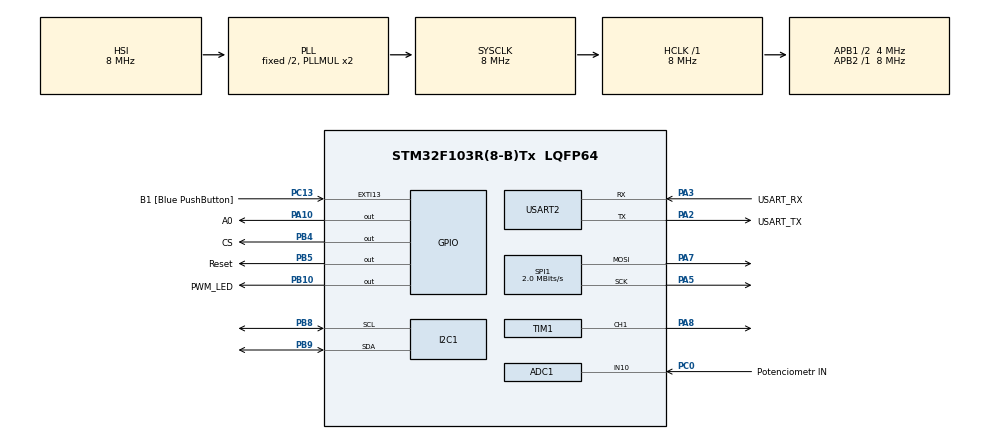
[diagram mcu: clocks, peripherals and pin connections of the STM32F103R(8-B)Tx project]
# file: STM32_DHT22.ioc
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ADC1.Channel-1\#ChannelRegularConversion=ADC_CHANNEL_10
ADC1.EnableAnalogWatchDog=false
ADC1.NbrOfConversionFlag=1
ADC1.Rank-1\#ChannelRegularConversion=1
ADC1.SamplingTime-1\#ChannelRegularConversion=ADC_SAMPLETIME_1CYCLE_5
ADC1.master=1
Dma.ADC1.0.Direction=DMA_PERIPH_TO_MEMORY
Dma.ADC1.0.Instance=DMA1_Channel1
Dma.ADC1.0.MemDataAlignment=DMA_MDATAALIGN_HALFWORD
Dma.ADC1.0.MemInc=DMA_MINC_ENABLE
Dma.ADC1.0.Mode=DMA_CIRCULAR
Dma.ADC1.0.PeriphDataAlignment=DMA_PDATAALIGN_HALFWORD
Dma.ADC1.0.PeriphInc=DMA_PINC_DISABLE
Dma.ADC1.0.Priority=DMA_PRIORITY_LOW
Dma.Request0=ADC1
Mcu.Family=STM32F1
Mcu.Name=STM32F103R(8-B)Tx
Mcu.Package=LQFP64
NVIC.ADC1_2_IRQn=true\:0\:0\:false\:false\:true\:true\:true
NVIC.DMA1_Channel1_IRQn=true\:0\:0\:false\:false\:true\:false\:true
NVIC.EXTI15_10_IRQn=true\:0\:0\:false\:false\:true\:true\:true
NVIC.PriorityGroup=NVIC_PRIORITYGROUP_4
NVIC.TIM1_UP_IRQn=true\:0\:0\:false\:false\:true\:true\:true
PA10.GPIO_Label=A0
PA10.Signal=GPIO_Output
PA13.GPIO_Label=TMS
PA13.Mode=Serial_Wire
PA13.Signal=SYS_JTMS-SWDIO
PA14.GPIO_Label=TCK
PA14.Mode=Serial_Wire
PA14.Signal=SYS_JTCK-SWCLK
PA2.GPIO_Label=USART_TX
PA2.GPIO_Mode=GPIO_MODE_AF_PP
PA2.GPIO_PuPd=GPIO_NOPULL
PA2.GPIO_Speed=GPIO_SPEED_FREQ_LOW
PA2.Mode=Asynchronous
PA2.Signal=USART2_TX
PA3.GPIO_Label=USART_RX
PA3.GPIO_Mode=GPIO_MODE_AF_PP
PA3.GPIO_PuPd=GPIO_NOPULL
PA3.GPIO_Speed=GPIO_SPEED_FREQ_LOW
PA3.Mode=Asynchronous
PA3.Signal=USART2_RX
PA5.Mode=TX_Only_Simplex_Unidirect_Master
PA5.Signal=SPI1_SCK
PA7.Mode=TX_Only_Simplex_Unidirect_Master
PA7.Signal=SPI1_MOSI
PA8.GPIO_Speed=GPIO_SPEED_FREQ_HIGH
PA8.Signal=S_TIM1_CH1
PB10.GPIO_Label=PWM_LED
PB10.Signal=GPIO_Output
PB3.GPIO_Label=SWO
PB3.Signal=SYS_JTDO-TRACESWO
PB4.GPIO_Label=CS
PB4.Signal=GPIO_Output
PB5.GPIO_Label=Reset
PB5.Signal=GPIO_Output
PB8.Mode=I2C
PB8.Signal=I2C1_SCL
PB9.Mode=I2C
PB9.Signal=I2C1_SDA
PC0.GPIO_Label=Potenciometr IN
PC0.GPIO_Mode=GPIO_MODE_ANALOG
PC0.Signal=SharedAnalog_PC0
PC13-TAMPER-RTC.GPIO_Label=B1 [Blue PushButton]
PC13-TAMPER-RTC.GPIO_ModeDefaultEXTI=GPIO_MODE_IT_FALLING
PC13-TAMPER-RTC.GPIO_PuPd=GPIO_NOPULL
PC13-TAMPER-RTC.Signal=GPXTI13
PC14-OSC32_IN.Signal=RCC_OSC32_IN
PC15-OSC32_OUT.Signal=RCC_OSC32_OUT
PD0-OSC_IN.Signal=RCC_OSC_IN
PD1-OSC_OUT.Signal=RCC_OSC_OUT
ProjectManager.HeapSize=0x200
ProjectManager.StackSize=0x400
ProjectManager.TargetToolchain=STM32CubeIDE
RCC.AHBFreq_Value=8000000
RCC.APB1CLKDivider=RCC_HCLK_DIV2
RCC.APB1Freq_Value=4000000
RCC.APB1TimFreq_Value=8000000
RCC.APB2Freq_Value=8000000
RCC.APB2TimFreq_Value=8000000
RCC.HCLKFreq_Value=8000000
RCC.SYSCLKFreq_VALUE=8000000
RCC.SYSCLKSource=RCC_SYSCLKSOURCE_PLLCLK
RCC.USBFreq_Value=8000000
SH.S_TIM1_CH1.0=TIM1_CH1,PWM Generation1 CH1
SH.SharedAnalog_PC0.0=GPIO_Analog
SH.SharedAnalog_PC0.1=ADC1_IN10,IN10
SPI1.BaudRatePrescaler=SPI_BAUDRATEPRESCALER_4
SPI1.CalculateBaudRate=2.0 MBits/s
SPI1.Direction=SPI_DIRECTION_2LINES
SPI1.Mode=SPI_MODE_MASTER
SPI1.VirtualType=VM_MASTER
TIM1.Channel-PWM\ Generation1\ CH1=TIM_CHANNEL_1
TIM1.OCFastMode_PWM-PWM\ Generation1\ CH1=TIM_OCFAST_DISABLE
TIM1.Period=4096
USART2.VirtualMode=VM_ASYNC
VP_TIM1_VS_ClockSourceINT.Mode=Internal
VP_TIM1_VS_ClockSourceITR.Mode=TriggerSource_ITR0
board=NUCLEO-F103RB

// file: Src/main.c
/* USER CODE BEGIN Header */
/**
 ******************************************************************************
 * @file           : main.c
 * @brief          : Main program body
 ******************************************************************************
 * @attention
 *
 * Copyright (c) 2021 STMicroelectronics.
 * All rights reserved.
 *
 * This software is licensed under terms that can be found in the LICENSE file
 * in the root directory of this software component.
 * If no LICENSE file comes with this software, it is provided AS-IS.
 *
 ******************************************************************************
 */
/* USER CODE END Header */
#include "main.h"
#include "adc.h"
#include "dma.h"
#include "i2c.h"
#include "spi.h"
#include "tim.h"
#include "usart.h"
#include "gpio.h"

/* USER CODE BEGIN Includes */
#include "DHT.h"
#include <string.h>
#include <stdio.h>
#include "st7735.h"
/* USER CODE END Includes */

/* USER CODE BEGIN PD */
#define DHT22_PIN GPIO_PIN_11
#define DHT22_GPIO GPIOB

#define ledDisplayPin GPIO_PIN_0
#define ledDisplayGPOO GPIOC

/* USER CODE END PD */

/* USER CODE BEGIN PV */
char msg[40];
char msg1[40];
float temp, hum, oldTemp, oldHum;
int displayColors[20] = {COLOR565_ALICE_BLUE, COLOR565_BLACK, COLOR565_BLUE_VIOLET, COLOR565_BROWN, COLOR565_CHOCOLATE, COLOR565_CYAN, COLOR565_DARK_MAGENTA,
                         COLOR565_DEEP_SKY_BLUE, COLOR565_GOLD, COLOR565_INDIGO, COLOR565_LIGHT_SLATE_GRAY, COLOR565_MEDIUM_BLUE, COLOR565_OLIVE,
                         COLOR565_RED, COLOR565_SNOW, COLOR565_TAN, COLOR565_VIOLET, COLOR565_YELLOW, COLOR565_YELLOW_GREEN, COLOR565_SPRING_GREEN};
int adc = 0;
int oldAdc = 0;
unsigned long tempDelay = 1000;
unsigned long oldTempDelay;
unsigned long oldBlinkDelay;
unsigned long blinkDelay = 500;
char charTemp[10] = "Temp";
/* USER CODE END PV */

void SystemClock_Config(void);

/* USER CODE BEGIN 0 */
void bright();
void uartPrint();
void displayBlink();
// void HAL_ADC_ConvCpltCallback(ADC_HandleTypeDef *hadc);

/* USER CODE END 0 */

int main(void)
{

  /* MCU Configuration--------------------------------------------------------*/

  /* Reset of all peripherals, Initializes the Flash interface and the Systick. */
  HAL_Init();

  /* Configure the system clock */
  SystemClock_Config();

  /* Initialize all configured peripherals */
  MX_GPIO_Init();
  MX_I2C1_Init();
  MX_USART2_UART_Init();
  MX_SPI1_Init();
  MX_ADC1_Init();
  MX_DMA_Init();
  MX_TIM1_Init();
  /* USER CODE BEGIN 2 */
  ST7735_Init();
  HAL_TIM_PWM_Start(&htim1, TIM_CHANNEL_1);
  HAL_ADCEx_Calibration_Start(&hadc1);
  HAL_ADC_Start_DMA(&hadc1, (uint32_t *)adc, 1);
  HAL_ADC_Start(&hadc1);
  static DHT_sensor DHT22_HW = {DHT22_GPIO, DHT22_PIN, DHT22, 1};
  ST7735_Clear(COLOR565_SPRING_GREEN);

  /* USER CODE END 2 */

  /* Infinite loop */
  while (1)
  {

    /* USER CODE BEGIN 3 */
    if (HAL_GetTick() - oldTempDelay >= tempDelay)
    {
      DHT_data d = DHT_getData(&DHT22_HW);
      temp = d.temp;
      hum = d.hum;
      oldTempDelay = HAL_GetTick();
    }
    uartPrint();
    // displayBlink();

    bright();
    ST7735_DrawChar7x11(10, 10, charTemp, COLOR565_AQUA, COLOR565_DARK_RED);
  }
  /* USER CODE END 3 */
}

void SystemClock_Config(void)
{
  RCC_OscInitTypeDef RCC_OscInitStruct = {0};
  RCC_ClkInitTypeDef RCC_ClkInitStruct = {0};
  RCC_PeriphCLKInitTypeDef PeriphClkInit = {0};

  /** Initializes the RCC Oscillators according to the specified parameters
   * in the RCC_OscInitTypeDef structure.
   */
  RCC_OscInitStruct.OscillatorType = RCC_OSCILLATORTYPE_HSI;
  RCC_OscInitStruct.HSIState = RCC_HSI_ON;
  RCC_OscInitStruct.HSICalibrationValue = RCC_HSICALIBRATION_DEFAULT;
  RCC_OscInitStruct.PLL.PLLState = RCC_PLL_ON;
  RCC_OscInitStruct.PLL.PLLSource = RCC_PLLSOURCE_HSI_DIV2;
  RCC_OscInitStruct.PLL.PLLMUL = RCC_PLL_MUL2;
  if (HAL_RCC_OscConfig(&RCC_OscInitStruct) != HAL_OK)
  {
    Error_Handler();
  }
  /** Initializes the CPU, AHB and APB buses clocks
   */
  RCC_ClkInitStruct.ClockType = RCC_CLOCKTYPE_HCLK | RCC_CLOCKTYPE_SYSCLK | RCC_CLOCKTYPE_PCLK1 | RCC_CLOCKTYPE_PCLK2;
  RCC_ClkInitStruct.SYSCLKSource = RCC_SYSCLKSOURCE_PLLCLK;
  RCC_ClkInitStruct.AHBCLKDivider = RCC_SYSCLK_DIV1;
  RCC_ClkInitStruct.APB1CLKDivider = RCC_HCLK_DIV2;
  RCC_ClkInitStruct.APB2CLKDivider = RCC_HCLK_DIV1;

  if (HAL_RCC_ClockConfig(&RCC_ClkInitStruct, FLASH_LATENCY_0) != HAL_OK)
  {
    Error_Handler();
  }
  PeriphClkInit.PeriphClockSelection = RCC_PERIPHCLK_ADC;
  PeriphClkInit.AdcClockSelection = RCC_ADCPCLK2_DIV2;
  if (HAL_RCCEx_PeriphCLKConfig(&PeriphClkInit) != HAL_OK)
  {
    Error_Handler();
  }
}

/* USER CODE BEGIN 4 */

void uartPrint()
{

  if (oldTemp != temp || oldHum != hum)
  {
    sprintf(msg, "Temp %3.1f °C, Hum %3.1f %%\r\n", temp, hum);
    HAL_UART_Transmit(&huart2, (uint8_t *)msg, strlen(msg), 0xFF);
    oldTemp = temp;
    oldHum = hum;
  }
}

void displayBlink()
{

  for (int i = 0; i < 20; i++)
  {
    if (HAL_GetTick() - oldBlinkDelay >= blinkDelay)
    {
      ST7735_Clear(displayColors[i]);
      oldBlinkDelay = HAL_GetTick();
    }
  }
}

void bright()
{
  HAL_ADC_Start(&hadc1);
  HAL_ADC_PollForConversion(&hadc1, 50);
  adc = HAL_ADC_GetValue(&hadc1);
  HAL_ADC_Stop(&hadc1);
  if (oldAdc != adc)
  {
    TIM1->CCR1 = adc;
    oldAdc = adc;

    if (HAL_GetTick() - oldTempDelay >= tempDelay)
    {
      sprintf(msg1, "ADC %d\r\n", adc);
      HAL_UART_Transmit(&huart2, (uint8_t *)msg1, strlen(msg1), 0xFF);
    }
  }
}

void HAL_ADC_ConvCpltCallback(ADC_HandleTypeDef *hadc)
{
  if (hadc->Instance == ADC1) // check if the interrupt comes from ACD1
  {
    HAL_ADC_Stop_DMA(&hadc1);
    adc = HAL_ADC_GetValue(&hadc1);
    TIM1->CCR1 = adc;
    HAL_ADC_Start_DMA(&hadc1, (uint32_t *)adc, 1);
  }
}

/* USER CODE END 4 */

void Error_Handler(void)
{
  __disable_irq();
  while (1)
  {
  }
}
